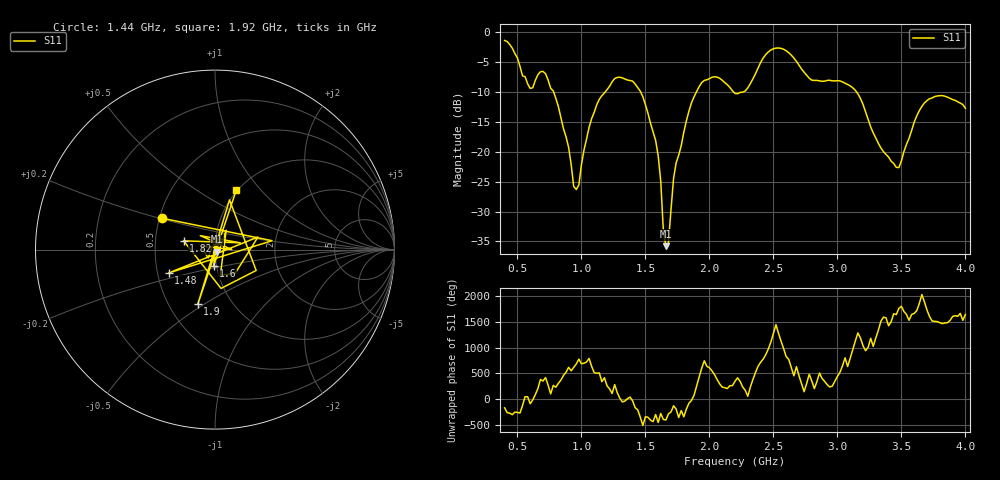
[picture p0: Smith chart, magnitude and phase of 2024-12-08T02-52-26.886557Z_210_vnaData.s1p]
!Created with skrf (http://scikit-rf.org).
# Hz S RI R 50.0
!freq ReS11 ImS11
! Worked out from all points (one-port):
!   181 points, 400 MHz to 4 GHz, reference 50 ohm
!   lowest |S11| = -35.8 dB at 1.66 GHz (marker M1), VSWR 1.03, Z = 51.1 - j1.2 ohm
!   |S11| at or under -10 dB: 783.4 MHz to 1.185 GHz (401.6 MHz wide, 40.8 % of centre); 1.463 GHz to 1.898 GHz (434.6 MHz wide, 25.9 % of centre); 3.15 GHz to end of sweep (the widest 3 of 4)
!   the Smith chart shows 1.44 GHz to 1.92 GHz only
!   S11 on the Smith chart (normalised r, x): 1.44 GHz: 0.51, +0.20; 1.48 GHz: 0.57, -0.16; 1.6 GHz: 0.97, -0.18; 1.82 GHz: 0.70, +0.07; 1.9 GHz: 0.69, -0.47; 1.92 GHz: 0.99, +0.75
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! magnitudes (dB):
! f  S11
! 400 MHz  -1.4
! 600 MHz  -9.4
! 720 MHz  -6.9
! 860 MHz  -16.1
! 960 MHz  -26.3
! 1.12 GHz  -12.1
! 1.3 GHz  -7.5
! 1.44 GHz  -9.2
! 1.48 GHz  -10.8
! 1.6 GHz  -20.7
! 1.64 GHz  -33.1
! 1.66 GHz  -35.8
! 1.68 GHz  -35.2
! 1.72 GHz  -24.5
! 1.76 GHz  -20.6
! 1.82 GHz  -14.8
! 1.9 GHz  -9.9
! 1.92 GHz  -9.1
! 2.06 GHz  -7.5
! 2.2 GHz  -10.2
! 2.48 GHz  -3.0
! 2.66 GHz  -4.3
! 2.8 GHz  -8.0
! 3.1 GHz  -8.9
! 3.46 GHz  -22.6
! 3.56 GHz  -17.7
! 3.72 GHz  -11.1
! 4 GHz  -12.7
